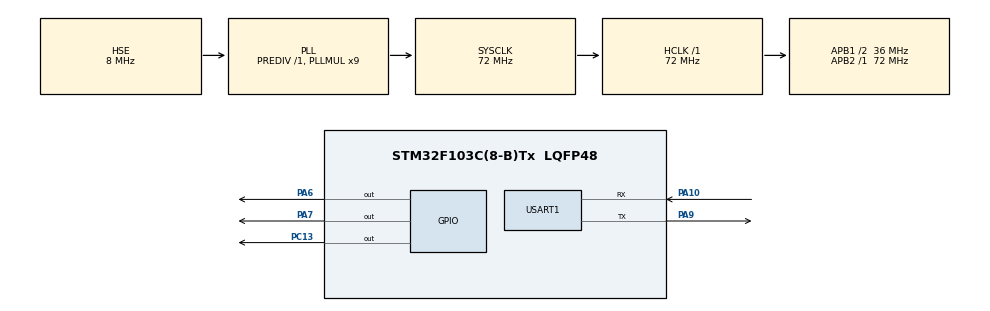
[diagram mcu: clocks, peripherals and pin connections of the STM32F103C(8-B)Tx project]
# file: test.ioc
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Mcu.Family=STM32F1
Mcu.Name=STM32F103C(8-B)Tx
Mcu.Package=LQFP48
NVIC.PriorityGroup=NVIC_PRIORITYGROUP_4
PA10.Mode=Asynchronous
PA10.Signal=USART1_RX
PA13.Mode=Serial_Wire
PA13.Signal=SYS_JTMS-SWDIO
PA14.Mode=Serial_Wire
PA14.Signal=SYS_JTCK-SWCLK
PA6.Signal=GPIO_Output
PA7.Signal=GPIO_Output
PA9.Mode=Asynchronous
PA9.Signal=USART1_TX
PC13-TAMPER-RTC.Signal=GPIO_Output
PD0-OSC_IN.Mode=HSE-External-Oscillator
PD0-OSC_IN.Signal=RCC_OSC_IN
PD1-OSC_OUT.Mode=HSE-External-Oscillator
PD1-OSC_OUT.Signal=RCC_OSC_OUT
ProjectManager.HeapSize=0x200
ProjectManager.StackSize=0x400
ProjectManager.TargetToolchain=STM32CubeIDE
RCC.AHBFreq_Value=72000000
RCC.APB1CLKDivider=RCC_HCLK_DIV2
RCC.APB1Freq_Value=36000000
RCC.APB1TimFreq_Value=72000000
RCC.APB2Freq_Value=72000000
RCC.APB2TimFreq_Value=72000000
RCC.HCLKFreq_Value=72000000
RCC.PLLMUL=RCC_PLL_MUL9
RCC.PLLSourceVirtual=RCC_PLLSOURCE_HSE
RCC.SYSCLKFreq_VALUE=72000000
RCC.SYSCLKSource=RCC_SYSCLKSOURCE_PLLCLK
RCC.USBFreq_Value=72000000
USART1.VirtualMode=VM_ASYNC
board=custom

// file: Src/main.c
/* USER CODE BEGIN Header */
/**
  ******************************************************************************
  * @file           : main.c
  * @brief          : Main program body
  ******************************************************************************
  * @attention
  *
  * Copyright (c) 2023 STMicroelectronics.
  * All rights reserved.
  *
  * This software is licensed under terms that can be found in the LICENSE file
  * in the root directory of this software component.
  * If no LICENSE file comes with this software, it is provided AS-IS.
  *
  ******************************************************************************
  */
/* USER CODE END Header */
#include "main.h"
#include "usart.h"
#include "gpio.h"

/* USER CODE BEGIN Includes */
#include "FreeRTOS.h"
#include "task.h"
#include "printf.h"

/* USER CODE END Includes */

void SystemClock_Config(void);

/* USER CODE BEGIN 0 */

//����1
void vTask1(void *pvParameters)
{
  for(;;)
  {
    HAL_GPIO_TogglePin(GPIOC,GPIO_PIN_13);
    vTaskDelay(100);

  }
}
//����2
void vTask2(void *pvParameters)
{
  for(;;)
  {
    HAL_GPIO_TogglePin(GPIOA,GPIO_PIN_6);
    vTaskDelay(1000);
  }
}

//����2
void vTask3(void *pvParameters)
{
  for(;;)
  {
    HAL_GPIO_TogglePin(GPIOA,GPIO_PIN_7);
    vTaskDelay(1500);
  }
}

void vTask4(void *pvParameters)
{
  for(;;)
  {
    printf("test!\r\n");
    vTaskDelay(500);
  }
}

/* USER CODE END 0 */

int main(void)
{

  /* MCU Configuration--------------------------------------------------------*/

  /* Reset of all peripherals, Initializes the Flash interface and the Systick. */
  HAL_Init();

  /* Configure the system clock */
  SystemClock_Config();

  /* Initialize all configured peripherals */
  MX_GPIO_Init();
  MX_USART1_UART_Init();
  /* USER CODE BEGIN 2 */

  xTaskCreate(vTask1,"LED",128,NULL,2,NULL);
  xTaskCreate(vTask2,"JDQ1",128,NULL,2,NULL);
  xTaskCreate(vTask3,"JDQ2",128,NULL,2,NULL);
  xTaskCreate(vTask4,"USART",128,NULL,2,NULL);

  vTaskStartScheduler();
  /* USER CODE END 2 */

  /* Infinite loop */
  while (1)
  {

  }
}

void SystemClock_Config(void)
{
  RCC_OscInitTypeDef RCC_OscInitStruct = {0};
  RCC_ClkInitTypeDef RCC_ClkInitStruct = {0};

  /** Initializes the RCC Oscillators according to the specified parameters
  * in the RCC_OscInitTypeDef structure.
  */
  RCC_OscInitStruct.OscillatorType = RCC_OSCILLATORTYPE_HSE;
  RCC_OscInitStruct.HSEState = RCC_HSE_ON;
  RCC_OscInitStruct.HSEPredivValue = RCC_HSE_PREDIV_DIV1;
  RCC_OscInitStruct.HSIState = RCC_HSI_ON;
  RCC_OscInitStruct.PLL.PLLState = RCC_PLL_ON;
  RCC_OscInitStruct.PLL.PLLSource = RCC_PLLSOURCE_HSE;
  RCC_OscInitStruct.PLL.PLLMUL = RCC_PLL_MUL9;
  if (HAL_RCC_OscConfig(&RCC_OscInitStruct) != HAL_OK)
  {
    Error_Handler();
  }

  /** Initializes the CPU, AHB and APB buses clocks
  */
  RCC_ClkInitStruct.ClockType = RCC_CLOCKTYPE_HCLK|RCC_CLOCKTYPE_SYSCLK
                              |RCC_CLOCKTYPE_PCLK1|RCC_CLOCKTYPE_PCLK2;
  RCC_ClkInitStruct.SYSCLKSource = RCC_SYSCLKSOURCE_PLLCLK;
  RCC_ClkInitStruct.AHBCLKDivider = RCC_SYSCLK_DIV1;
  RCC_ClkInitStruct.APB1CLKDivider = RCC_HCLK_DIV2;
  RCC_ClkInitStruct.APB2CLKDivider = RCC_HCLK_DIV1;

  if (HAL_RCC_ClockConfig(&RCC_ClkInitStruct, FLASH_LATENCY_2) != HAL_OK)
  {
    Error_Handler();
  }
}

void Error_Handler(void)
{
  __disable_irq();
  while (1)
  {
  }
}
